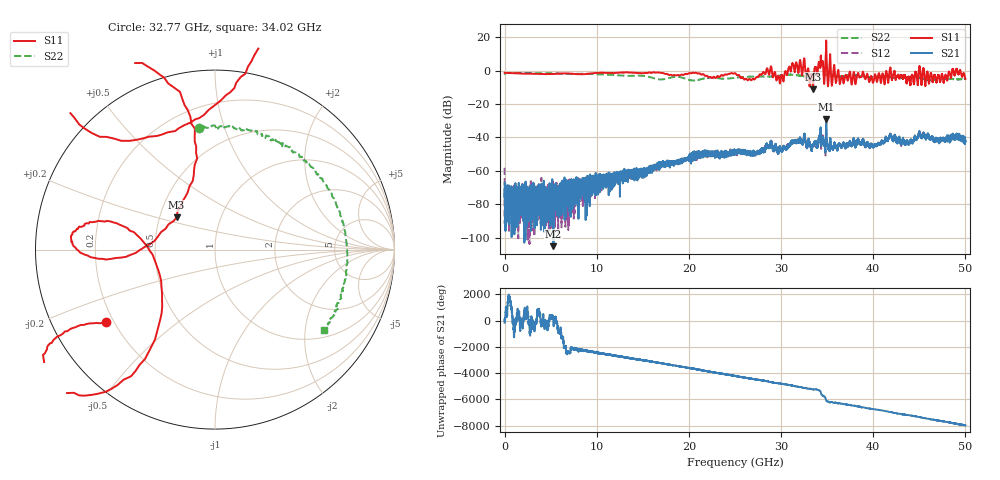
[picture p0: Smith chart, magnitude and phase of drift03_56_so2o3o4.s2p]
!Created with skrf (http://scikit-rf.org).
# Hz S RI R 50.0
!freq ReS11 ImS11 ReS21 ImS21 ReS12 ImS12 ReS22 ImS22
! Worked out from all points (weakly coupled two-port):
!   10001 points, 300 kHz to 50 GHz, reference 50 ohm
!   highest |S21| = -28.88 dB at 34.9 GHz (marker M1); lowest = -105.1 dB at 5.3 GHz (marker M2)
!   lowest |S11| = -11.1 dB at 33.47 GHz (marker M3), VSWR 1.78, Z = 30.6 + j12 ohm
!   |S11| at or under -10 dB: 33.45013 GHz to 33.4821 GHz (31.96 MHz wide, 0.0955 % of centre)
!   |S22| runs from -5.9 to -1.3 dB; largest |S21 - S12| = 0.0081
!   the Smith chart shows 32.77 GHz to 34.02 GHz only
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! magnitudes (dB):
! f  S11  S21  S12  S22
! 300 kHz  -1.3  -67.5  -58.2  -2.0
! 255.3 MHz  -1.3  -84.3  -81.4  -1.4
! 685.3 MHz  -1.4  -82.5  -77.9  -1.5
! 5.3 GHz  -2.0  -105.1  -75.2  -1.6
! 8.335 GHz  -2.2  -67.4  -70.6  -1.9
! 16.67 GHz  -1.1  -58.2  -56.1  -5.2
! 25 GHz  -1.5  -50.1  -49.5  -4.3
! 26.92 GHz  -4.9  -49.6  -49.4  -3.5
! 28.72 GHz  -2.2  -45.4  -46.2  -3.6
! 30.06 GHz  -2.5  -47.9  -47.4  -2.8
! 31.87 GHz  -1.4  -42.0  -42.2  -2.9
! 33.34 GHz  -2.2  -48.2  -47.3  -2.9
! 33.47 GHz  -11.1  -44.4  -45.2  -2.8
! 34.29 GHz  5.8  -35.6  -35.2  -2.3
! 34.9 GHz  18.1  -28.9  -30.8  -2.3
! 36.58 GHz  -3.4  -46.3  -46.1  -3.6
! 40.19 GHz  -2.4  -44.6  -44.2  -3.7
! 41.67 GHz  -5.4  -40.7  -40.6  -3.7
! 43.84 GHz  -3.6  -43.7  -44.1  -3.9
! 45.17 GHz  -4.7  -40.4  -39.1  -4.4
! 49.21 GHz  -1.9  -38.8  -39.4  -5.2
! 50 GHz  -4.9  -42.4  -42.3  -5.0
